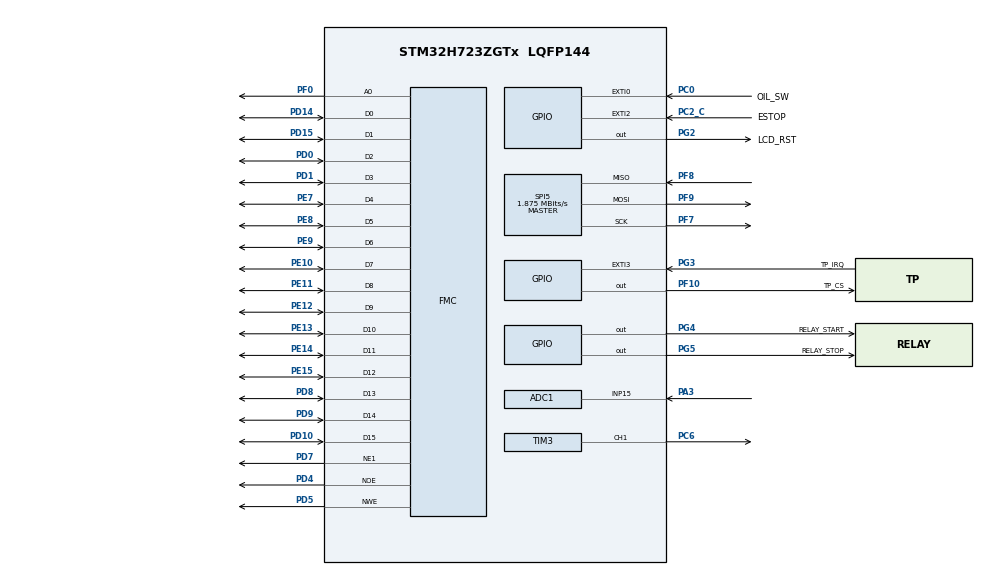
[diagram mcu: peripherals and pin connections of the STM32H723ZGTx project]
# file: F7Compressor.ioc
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ADC1.Channel-0\#ChannelRegularConversion=ADC_CHANNEL_15
ADC1.NbrOfConversionFlag=1
ADC1.OffsetNumber-0\#ChannelRegularConversion=ADC_OFFSET_NONE
ADC1.OffsetSignedSaturation-0\#ChannelRegularConversion=DISABLE
ADC1.Rank-0\#ChannelRegularConversion=1
ADC1.Resolution=ADC_RESOLUTION_12B
ADC1.SamplingTime-0\#ChannelRegularConversion=ADC_SAMPLETIME_810CYCLES_5
ADC1.master=1
CORTEX_M7.default_mode_Activation=1
FMC.AddressSetupTime1=1
FMC.BusTurnAroundDuration1=0
FMC.DataSetupTime1=15
FMC.ExtendedMode1=FMC_EXTENDED_MODE_DISABLE
FMC.WriteFifo1=FMC_WRITE_FIFO_ENABLE
FMC.WriteOperation1=FMC_WRITE_OPERATION_ENABLE
Mcu.Family=STM32H7
Mcu.Name=STM32H723ZGTx
Mcu.Package=LQFP144
NVIC.ADC_IRQn=true\:3\:0\:true\:false\:true\:true\:true\:true
NVIC.EXTI0_IRQn=true\:2\:0\:true\:false\:true\:true\:true\:true
NVIC.EXTI2_IRQn=true\:0\:0\:false\:false\:true\:true\:true\:true
NVIC.EXTI3_IRQn=true\:3\:0\:true\:false\:true\:true\:true\:true
NVIC.PriorityGroup=NVIC_PRIORITYGROUP_4
PA13(JTMS/SWDIO).GPIO_Label=SWDIO
PA13(JTMS/SWDIO).Mode=Serial_Wire
PA13(JTMS/SWDIO).Signal=DEBUG_JTMS-SWDIO
PA14(JTCK/SWCLK).GPIO_Label=SWCLK
PA14(JTCK/SWCLK).Mode=Serial_Wire
PA14(JTCK/SWCLK).Signal=DEBUG_JTCK-SWCLK
PA3.Signal=ADCx_INP15
PC0.GPIO_Label=OIL_SW
PC0.GPIO_ModeDefaultEXTI=GPIO_MODE_IT_RISING_FALLING
PC0.GPIO_PuPd=GPIO_PULLUP
PC0.Signal=GPXTI0
PC14-OSC32_IN.Signal=RCC_OSC32_IN
PC15-OSC32_OUT.Signal=RCC_OSC32_OUT
PC2_C.GPIO_Label=ESTOP
PC2_C.GPIO_ModeDefaultEXTI=GPIO_MODE_IT_FALLING
PC2_C.GPIO_PuPd=GPIO_PULLUP
PC2_C.Signal=GPXTI2
PC6.Signal=S_TIM3_CH1
PD0.Signal=FMC_D2_DA2
PD1.Signal=FMC_D3_DA3
PD10.Signal=FMC_D15_DA15
PD13.Signal=FMC_A18
PD14.Signal=FMC_D0_DA0
PD15.Signal=FMC_D1_DA1
PD4.Signal=FMC_NOE
PD5.Signal=FMC_NWE
PD7.Mode=NorPsramChipSelect1_1
PD7.Signal=FMC_NE1
PD8.Signal=FMC_D13_DA13
PD9.Signal=FMC_D14_DA14
PE10.Signal=FMC_D7_DA7
PE11.Signal=FMC_D8_DA8
PE12.Signal=FMC_D9_DA9
PE13.Signal=FMC_D10_DA10
PE14.Signal=FMC_D11_DA11
PE15.Signal=FMC_D12_DA12
PE7.Signal=FMC_D4_DA4
PE8.Signal=FMC_D5_DA5
PE9.Signal=FMC_D6_DA6
PF0.Signal=FMC_A0
PF10.GPIO_Label=TP_CS
PF10.PinState=GPIO_PIN_SET
PF10.Signal=GPIO_Output
PF7.Mode=Full_Duplex_Master
PF7.Signal=SPI5_SCK
PF8.Mode=Full_Duplex_Master
PF8.Signal=SPI5_MISO
PF9.Mode=Full_Duplex_Master
PF9.Signal=SPI5_MOSI
PG2.GPIO_Label=LCD_RST
PG2.PinState=GPIO_PIN_SET
PG2.Signal=GPIO_Output
PG3.GPIO_Label=TP_IRQ
PG3.GPIO_ModeDefaultEXTI=GPIO_MODE_IT_FALLING
PG3.GPIO_PuPd=GPIO_PULLUP
PG3.Signal=GPXTI3
PG4.GPIO_Label=RELAY_START
PG4.Signal=GPIO_Output
PG5.GPIO_Label=RELAY_STOP
PG5.Signal=GPIO_Output
PH0-OSC_IN.Mode=HSE-External-Oscillator
PH0-OSC_IN.Signal=RCC_OSC_IN
PH1-OSC_OUT.Mode=HSE-External-Oscillator
PH1-OSC_OUT.Signal=RCC_OSC_OUT
ProjectManager.HeapSize=0x400
ProjectManager.StackSize=0x800
ProjectManager.TargetToolchain=Makefile
RCC.ADCFreq_Value=96000000
RCC.APB1Freq_Value=120000000
RCC.APB2Freq_Value=120000000
RCC.APB3Freq_Value=120000000
RCC.APB4Freq_Value=120000000
RCC.CortexFreq_Value=480000000
RCC.D1PPRE=RCC_APB3_DIV2
RCC.D2PPRE1=RCC_APB1_DIV2
RCC.D2PPRE2=RCC_APB2_DIV2
RCC.D3PPRE=RCC_APB4_DIV2
RCC.DIVM1=1
RCC.DIVM2=1
RCC.DIVN1=60
RCC.DIVN2=24
RCC.DIVP1=1
RCC.DIVQ1=4
RCC.HCLKFreq_Value=240000000
RCC.HPRE=RCC_HCLK_DIV2
RCC.HSE_VALUE=8000000
RCC.PLLFRACN=0
RCC.PLLSourceVirtual=RCC_PLLSOURCE_HSE
RCC.SYSCLKFreq_VALUE=480000000
RCC.SYSCLKSource=RCC_SYSCLKSOURCE_PLLCLK
RCC.USBCLockSelection=RCC_USBCLKSOURCE_HSI48
RCC.USBFreq_Value=48000000
SH.ADCx_INP15.0=ADC1_INP15,IN15-Single-Ended
SH.FMC_A0.0=FMC_A0,1b-a1
SH.FMC_A18.0=FMC_A18
SH.FMC_D0_DA0.0=FMC_D0,16b-d1
SH.FMC_D10_DA10.0=FMC_D10,16b-d1
SH.FMC_D11_DA11.0=FMC_D11,16b-d1
SH.FMC_D12_DA12.0=FMC_D12,16b-d1
SH.FMC_D13_DA13.0=FMC_D13,16b-d1
SH.FMC_D14_DA14.0=FMC_D14,16b-d1
SH.FMC_D15_DA15.0=FMC_D15,16b-d1
SH.FMC_D1_DA1.0=FMC_D1,16b-d1
SH.FMC_D2_DA2.0=FMC_D2,16b-d1
SH.FMC_D3_DA3.0=FMC_D3,16b-d1
SH.FMC_D4_DA4.0=FMC_D4,16b-d1
SH.FMC_D5_DA5.0=FMC_D5,16b-d1
SH.FMC_D6_DA6.0=FMC_D6,16b-d1
SH.FMC_D7_DA7.0=FMC_D7,16b-d1
SH.FMC_D8_DA8.0=FMC_D8,16b-d1
SH.FMC_D9_DA9.0=FMC_D9,16b-d1
SH.FMC_NOE.0=FMC_NOE,Sram1
SH.FMC_NWE.0=FMC_NWE,Sram1
SH.S_TIM3_CH1.0=TIM3_CH1,PWM Generation1 CH1
SPI5.BaudRatePrescaler=SPI_BAUDRATEPRESCALER_64
SPI5.CalculateBaudRate=1.875 MBits/s
SPI5.DataSize=SPI_DATASIZE_8BIT
SPI5.Direction=SPI_DIRECTION_2LINES
SPI5.Mode=SPI_MODE_MASTER
SPI5.VirtualType=VM_MASTER
TIM3.Channel-PWM\ Generation1\ CH1=TIM_CHANNEL_1
TIM3.OC1Preload_PWM=DISABLE
TIM3.Period=999
TIM3.Prescaler=239
TIM3.Pulse-PWM\ Generation1\ CH1=750
VP_MEMORYMAP_VS_MEMORYMAP.Mode=CurAppReg
VP_TIM3_VS_ClockSourceINT.Mode=Internal
board=NUCLEO-H723ZG

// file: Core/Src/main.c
/* USER CODE BEGIN Header */
/**
  ******************************************************************************
  * @file           : main.c
  * @brief          : Main program body
  ******************************************************************************
  * @attention
  *
  * Copyright (c) 2026 STMicroelectronics.
  * All rights reserved.
  *
  * This software is licensed under terms that can be found in the LICENSE file
  * in the root directory of this software component.
  * If no LICENSE file comes with this software, it is provided AS-IS.
  *
  ******************************************************************************
  */
/* USER CODE END Header */
#include "main.h"
#include "adc.h"
#include "spi.h"
#include "tim.h"
#include "gpio.h"
#include "fmc.h"

/* USER CODE BEGIN Includes */
#include "ili9341.h"
#include "xpt2046_spi.h"
#include "pressure_adc.h"
#include "relay.h"
#include "digital_in.h"
#include "settings.h"
#include "alarms.h"
#include "compressor_sm.h"
#include "ui_main.h"
#include "ui_settings.h"
#include "ui_alarms.h"
/* USER CODE END Includes */

/* USER CODE BEGIN PV */
typedef enum { SCREEN_MAIN, SCREEN_SETTINGS, SCREEN_ALARMS } Screen_t;
static Screen_t s_screen = SCREEN_MAIN;
static bool     s_full_redraw = true;
/* USER CODE END PV */

void SystemClock_Config(void);
void PeriphCommonClock_Config(void);
static void MPU_Config(void);
/* USER CODE BEGIN PFP */
void UI_ShowMain(void);
void UI_ShowSettings(void);
void UI_ShowAlarms(void);
/* USER CODE END PFP */

/* USER CODE BEGIN 0 */
void UI_ShowMain(void)
{
    s_screen = SCREEN_MAIN;
    s_full_redraw = true;
}

void UI_ShowSettings(void)
{
    UI_Settings_Enter();
    s_screen = SCREEN_SETTINGS;
    s_full_redraw = true;
}

void UI_ShowAlarms(void)
{
    s_screen = SCREEN_ALARMS;
    s_full_redraw = true;
}
/* USER CODE END 0 */

int main(void)
{

  /* MPU Configuration--------------------------------------------------------*/
  MPU_Config();

  /* MCU Configuration--------------------------------------------------------*/

  /* Reset of all peripherals, Initializes the Flash interface and the Systick. */
  HAL_Init();

  /* Configure the system clock */
  SystemClock_Config();

  /* Configure the peripherals common clocks */
  PeriphCommonClock_Config();

  /* Initialize all configured peripherals */
  MX_GPIO_Init();
  MX_ADC1_Init();
  MX_FMC_Init();
  MX_SPI5_Init();
  MX_TIM3_Init();
  /* USER CODE BEGIN 2 */

  /*
   * Independent watchdog (IWDG1) — safety net for a hung superloop, which would
   * otherwise leave the run relay frozen in its last state. LSI ≈ 32 kHz,
   * prescaler /32 → 1 kHz tick, reload 1999 → ~2 s timeout. Refreshed once per
   * loop iteration (USER CODE 3) and around the flash erase in Settings_Save().
   * Driven via registers because no LL/HAL IWDG driver is bundled in this tree.
   * Freeze it while the core is halted under the debugger so breakpoints don't
   * trigger spurious resets (no effect in the field with no debugger attached).
   */
  LL_DBGMCU_APB4_GRP1_FreezePeriph(LL_DBGMCU_APB4_GRP1_IWDG1_STOP);
  IWDG1->KR  = 0x0000CCCCu;   /* start the watchdog (also starts LSI) */
  IWDG1->KR  = 0x00005555u;   /* enable write access to PR/RLR */
  IWDG1->PR  = 0x03u;         /* prescaler /32 → 1 kHz counter clock */
  IWDG1->RLR = 1999u;         /* reload value → ~2 s timeout */
  {
      uint32_t iwdg_start = HAL_GetTick();
      while (IWDG1->SR != 0u) {           /* wait for PR/RLR writes to apply */
          if ((HAL_GetTick() - iwdg_start) > 10u) break;
      }
  }
  IWDG1->KR  = 0x0000AAAAu;   /* refresh (re-locks write access) */

  /* Heartbeat LED: LD1 Green (PB0) — init early so it blinks even if later init hangs */
  LL_AHB4_GRP1_EnableClock(LL_AHB4_GRP1_PERIPH_GPIOB);
  LL_GPIO_SetPinMode(GPIOB, LL_GPIO_PIN_0, LL_GPIO_MODE_OUTPUT);
  LL_GPIO_SetPinOutputType(GPIOB, LL_GPIO_PIN_0, LL_GPIO_OUTPUT_PUSHPULL);
  LL_GPIO_SetPinSpeed(GPIOB, LL_GPIO_PIN_0, LL_GPIO_SPEED_FREQ_LOW);
  LL_GPIO_SetPinPull(GPIOB, LL_GPIO_PIN_0, LL_GPIO_PULL_NO);
  LL_GPIO_ResetOutputPin(GPIOB, LL_GPIO_PIN_0);

  /* --- BSP init --- */
  /* Backlight: start TIM3 PWM on PC6 (AF2, already configured by MX_TIM3_Init) */
  LL_TIM_EnableCounter(TIM3);
  LL_TIM_CC_EnableChannel(TIM3, LL_TIM_CHANNEL_CH1);

  /* Display */
  lcdInit();
  lcdSetOrientation(LCD_ORIENTATION_LANDSCAPE);

  /* Touch */
  XPT2046_Init();

  /* Pressure ADC: calibrate + enable */
  PADC_Init();

  /* Relay outputs */
  Relay_Init();

  /* Digital inputs: read initial states */
  DigIn_Init();

  /* --- App init --- */
  Alarms_Init();
  Settings_Init();
  SM_Init(Settings_Get());

  /* Sync SM with actual input states */
  SM_SetOilSwitch(DigIn_IsOilPressureOK());
  SM_SetEStop(DigIn_IsEStopActive());

  /* Initial screen */
  s_screen = SCREEN_MAIN;
  s_full_redraw = true;

  /* USER CODE END 2 */

  /* Infinite loop */
  /* USER CODE BEGIN WHILE */
  uint32_t adc_tick = 0;
  uint32_t ui_tick  = 0;
  uint32_t led_tick = 0;

  while (1)
  {
    /* USER CODE END WHILE */

    /* USER CODE BEGIN 3 */

    /* Refresh the watchdog — if the loop stalls past ~2 s the MCU resets */
    IWDG1->KR = 0x0000AAAAu;

    /* Heartbeat: toggle LD1 green (PB0) at 1 Hz */
    if (HAL_GetTick() - led_tick >= 500u) {
        led_tick = HAL_GetTick();
        LL_GPIO_TogglePin(GPIOB, LL_GPIO_PIN_0);
    }

    /* ADC at ~10 Hz */
    if (HAL_GetTick() - adc_tick >= 100u) {
        adc_tick = HAL_GetTick();
        PADC_Sample();
        if (PADC_IsFault()) Alarms_Set(ALARM_PRESSURE_FAULT);
        else                Alarms_Clear(ALARM_PRESSURE_FAULT);
    }

    /* Relay dead-time management */
    Relay_Update();

    /* Debounce the oil switch, then synchronise digital-input state to SM */
    DigIn_Update();
    SM_SetOilSwitch(DigIn_IsOilPressureOK());
    SM_SetEStop(DigIn_IsEStopActive());
    if (DigIn_ConsumeEStopReset()) {
        /* Physical e-stop released — allow manual reset via UI */
    }

    /* State machine */
    SM_Update(PADC_GetPSI());

    /* Touch */
    Touch_t touch = {0};
    if (XPT2046_Read(&touch) && touch.pressed) {
        switch (s_screen) {
        case SCREEN_MAIN:     UI_Main_Touch(touch.x, touch.y);     break;
        case SCREEN_SETTINGS: UI_Settings_Touch(touch.x, touch.y); break;
        case SCREEN_ALARMS:   UI_Alarms_Touch(touch.x, touch.y);   break;
        }
    }

    /* UI at ~20 Hz */
    if (HAL_GetTick() - ui_tick >= 50u) {
        ui_tick = HAL_GetTick();
        switch (s_screen) {
        case SCREEN_MAIN:     UI_Main_Draw(s_full_redraw);     break;
        case SCREEN_SETTINGS: UI_Settings_Draw(s_full_redraw); break;
        case SCREEN_ALARMS:   UI_Alarms_Draw(s_full_redraw);   break;
        }
        s_full_redraw = false;
    }

  }
  /* USER CODE END 3 */
}

void SystemClock_Config(void)
{
  LL_FLASH_SetLatency(LL_FLASH_LATENCY_3);
  while(LL_FLASH_GetLatency()!= LL_FLASH_LATENCY_3)
  {
  }
  LL_PWR_ConfigSupply(LL_PWR_LDO_SUPPLY);
  LL_PWR_SetRegulVoltageScaling(LL_PWR_REGU_VOLTAGE_SCALE0);
  while (LL_PWR_IsActiveFlag_VOS() == 0)
  {
  }
  LL_RCC_HSE_Enable();

   /* Wait till HSE is ready */
  while(LL_RCC_HSE_IsReady() != 1)
  {

  }
  LL_RCC_PLL_SetSource(LL_RCC_PLLSOURCE_HSE);
  LL_RCC_PLL1P_Enable();
  LL_RCC_PLL1R_Enable();
  LL_RCC_PLL1_SetVCOInputRange(LL_RCC_PLLINPUTRANGE_8_16);
  LL_RCC_PLL1_SetVCOOutputRange(LL_RCC_PLLVCORANGE_WIDE);
  LL_RCC_PLL1_SetM(1);
  LL_RCC_PLL1_SetN(60);
  LL_RCC_PLL1_SetP(1);
  LL_RCC_PLL1_SetQ(4);
  LL_RCC_PLL1_SetR(2);
  LL_RCC_PLL1_Enable();

   /* Wait till PLL is ready */
  while(LL_RCC_PLL1_IsReady() != 1)
  {
  }

   /* Intermediate AHB prescaler 2 when target frequency clock is higher than 80 MHz */
   LL_RCC_SetAHBPrescaler(LL_RCC_AHB_DIV_2);

  LL_RCC_SetSysClkSource(LL_RCC_SYS_CLKSOURCE_PLL1);

   /* Wait till System clock is ready */
  while(LL_RCC_GetSysClkSource() != LL_RCC_SYS_CLKSOURCE_STATUS_PLL1)
  {

  }
  LL_RCC_SetSysPrescaler(LL_RCC_SYSCLK_DIV_1);
  LL_RCC_SetAHBPrescaler(LL_RCC_AHB_DIV_2);
  LL_RCC_SetAPB1Prescaler(LL_RCC_APB1_DIV_2);
  LL_RCC_SetAPB2Prescaler(LL_RCC_APB2_DIV_2);
  LL_RCC_SetAPB3Prescaler(LL_RCC_APB3_DIV_2);
  LL_RCC_SetAPB4Prescaler(LL_RCC_APB4_DIV_2);
  LL_SetSystemCoreClock(480000000);

   /* Update the time base */
  if (HAL_InitTick (TICK_INT_PRIORITY) != HAL_OK)
  {
    Error_Handler();
  }
}

void PeriphCommonClock_Config(void)
{
  LL_RCC_PLL2P_Enable();
  LL_RCC_PLL2_SetVCOInputRange(LL_RCC_PLLINPUTRANGE_8_16);
  LL_RCC_PLL2_SetVCOOutputRange(LL_RCC_PLLVCORANGE_WIDE);
  LL_RCC_PLL2_SetM(1);
  LL_RCC_PLL2_SetN(24);
  LL_RCC_PLL2_SetP(2);
  LL_RCC_PLL2_SetQ(2);
  LL_RCC_PLL2_SetR(2);
  LL_RCC_PLL2_Enable();

   /* Wait till PLL is ready */
  while(LL_RCC_PLL2_IsReady() != 1)
  {
  }

}

 /* MPU Configuration */

void MPU_Config(void)
{

  /* Disables the MPU */
  LL_MPU_Disable();

  /** Initializes and configures the Region and the memory to be protected
  */
  LL_MPU_ConfigRegion(LL_MPU_REGION_NUMBER0, 0x87, 0x0, LL_MPU_REGION_SIZE_4GB|LL_MPU_TEX_LEVEL0|LL_MPU_REGION_NO_ACCESS|LL_MPU_INSTRUCTION_ACCESS_DISABLE|LL_MPU_ACCESS_SHAREABLE|LL_MPU_ACCESS_NOT_CACHEABLE|LL_MPU_ACCESS_NOT_BUFFERABLE);
  /* Enables the MPU */
  LL_MPU_Enable(LL_MPU_CTRL_PRIVILEGED_DEFAULT);

}

void Error_Handler(void)
{
  __disable_irq();
  while (1)
  {
  }
}
